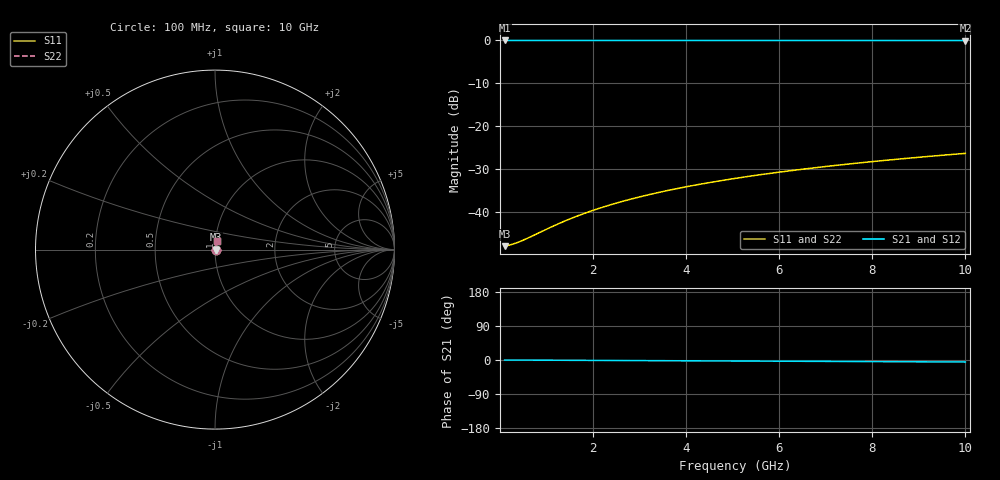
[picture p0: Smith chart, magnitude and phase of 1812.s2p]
# Hz S RI R 50.00
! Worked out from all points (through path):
!   100 points, 100 MHz to 10 GHz, reference 50 ohm
!   highest |S21| = -0.03 dB at 100 MHz (marker M1); lowest = 0.0 dB at 10 GHz (marker M2)
!   lowest |S11| = -47.9 dB at 100 MHz (marker M3), VSWR 1.01, Z = 50.4 + j0.0484 ohm
!   |S11| at or under -10 dB: start of sweep to end of sweep
!   |S22| runs from -47.9 to -26.3 dB; largest |S21 - S12| = 0
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1e8  0.00402 0.00048  0.996 -0.000916  0.996 -0.000916  0.00402 0.00048
2e8  0.00405 0.000961  0.9959 -0.00183  0.9959 -0.00183  0.00405 0.000961
3e8  0.00407 0.00144  0.9959 -0.00275  0.9959 -0.00275  0.00407 0.00144
4e8  0.00409 0.00192  0.9959 -0.00366  0.9959 -0.00366  0.00409 0.00192
6e8  0.00412 0.00288  0.9959 -0.0055  0.9959 -0.0055  0.00412 0.00288
1e9  0.00419 0.0048  0.9958 -0.00916  0.9958 -0.00916  0.00419 0.0048
1.3e9  0.00424 0.00624  0.9957 -0.0119  0.9957 -0.0119  0.00424 0.00624
1.5e9  0.00428 0.0072  0.9957 -0.0137  0.9957 -0.0137  0.00428 0.0072
1.8e9  0.00434 0.00864  0.9956 -0.0165  0.9956 -0.0165  0.00434 0.00864
2.1e9  0.0044 0.0101  0.9955 -0.0192  0.9955 -0.0192  0.0044 0.0101
2.5e9  0.0045 0.012  0.9954 -0.0229  0.9954 -0.0229  0.0045 0.012
2.9e9  0.00462 0.0139  0.9953 -0.0266  0.9953 -0.0266  0.00462 0.0139
3.4e9  0.00478 0.0163  0.9951 -0.0311  0.9951 -0.0311  0.00478 0.0163
3.8e9  0.00492 0.0182  0.9949 -0.0348  0.9949 -0.0348  0.00492 0.0182
4.2e9  0.00507 0.0201  0.9947 -0.0385  0.9947 -0.0385  0.00507 0.0201
4.6e9  0.00524 0.0221  0.9945 -0.0421  0.9945 -0.0421  0.00524 0.0221
5.1e9  0.00547 0.0244  0.9943 -0.0467  0.9943 -0.0467  0.00547 0.0244
5.9e9  0.00588 0.0283  0.9938 -0.054  0.9938 -0.054  0.00588 0.0283
6.7e9  0.00635 0.0321  0.9932 -0.0613  0.9932 -0.0613  0.00635 0.0321
7.5e9  0.00688 0.0359  0.9926 -0.0686  0.9926 -0.0686  0.00688 0.0359
8.4e9  0.00753 0.0401  0.9918 -0.0768  0.9918 -0.0768  0.00753 0.0401
1e10  0.00887 0.0477  0.9901 -0.0913  0.9901 -0.0913  0.00887 0.0477
